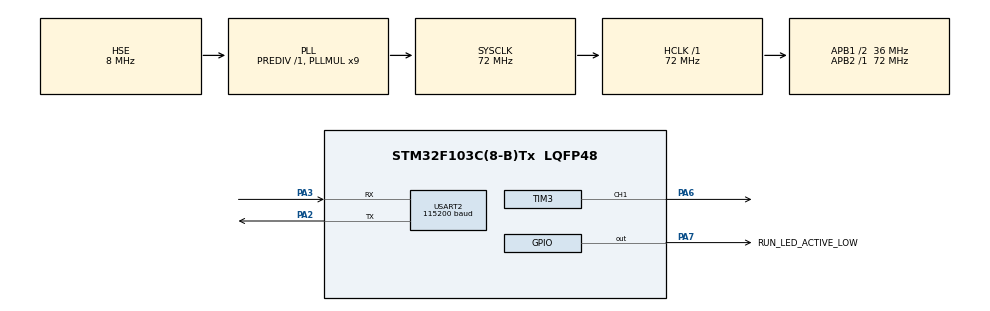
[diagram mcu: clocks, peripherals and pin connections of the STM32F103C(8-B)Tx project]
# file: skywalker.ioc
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Mcu.Family=STM32F1
Mcu.Name=STM32F103C(8-B)Tx
Mcu.Package=LQFP48
NVIC.PriorityGroup=NVIC_PRIORITYGROUP_4
PA13.Mode=Serial_Wire
PA13.Signal=SYS_JTMS-SWDIO
PA14.Mode=Serial_Wire
PA14.Signal=SYS_JTCK-SWCLK
PA6.Signal=S_TIM3_CH1
PA2.Mode=Asynchronous
PA2.Signal=USART2_TX
PA3.Mode=Asynchronous
PA3.Signal=USART2_RX
PA7.GPIO_Label=RUN_LED_ACTIVE_LOW
PA7.Signal=GPIO_Output
PD0-OSC_IN.Mode=HSE-External-Oscillator
PD0-OSC_IN.Signal=RCC_OSC_IN
PD1-OSC_OUT.Mode=HSE-External-Oscillator
PD1-OSC_OUT.Signal=RCC_OSC_OUT
ProjectManager.HeapSize=0x200
ProjectManager.StackSize=0x400
ProjectManager.TargetToolchain=CMake
RCC.AHBFreq_Value=72000000
RCC.APB1CLKDivider=RCC_HCLK_DIV2
RCC.APB1Freq_Value=36000000
RCC.APB1TimFreq_Value=72000000
RCC.APB2Freq_Value=72000000
RCC.APB2TimFreq_Value=72000000
RCC.HCLKFreq_Value=72000000
RCC.PLLMUL=RCC_PLL_MUL9
RCC.PLLSourceVirtual=RCC_PLLSOURCE_HSE
RCC.SYSCLKFreq_VALUE=72000000
RCC.SYSCLKSource=RCC_SYSCLKSOURCE_PLLCLK
RCC.USBFreq_Value=72000000
SH.S_TIM3_CH1.0=TIM3_CH1,PWM Generation1 CH1
TIM3.Channel-PWM\ Generation1\ CH1=TIM_CHANNEL_1
TIM3.Period=20000-1
TIM3.Prescaler=72-1
USART2.BaudRate=115200
USART2.VirtualMode=VM_ASYNC
VP_TIM3_VS_ClockSourceINT.Mode=Internal
board=custom

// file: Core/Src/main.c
/* USER CODE BEGIN Header */
/**
  ******************************************************************************
  * @file           : main.c
  * @brief          : Main program body
  ******************************************************************************
  * @attention
  *
  * Copyright (c) 2026 STMicroelectronics.
  * All rights reserved.
  *
  * This software is licensed under terms that can be found in the LICENSE file
  * in the root directory of this software component.
  * If no LICENSE file comes with this software, it is provided AS-IS.
  *
  ******************************************************************************
  */
/* USER CODE END Header */
#include "main.h"
#include "tim.h"
#include "gpio.h"

/* USER CODE BEGIN Includes */
#include <string.h>
/* USER CODE END Includes */

/* USER CODE BEGIN PTD */
typedef enum
{
  APP_STARTUP_STOP = 0,
  APP_AUTO_RUN,
  APP_TEST_COMPLETE
} AppState;

typedef struct
{
  uint32_t uptime_ms;
  uint16_t motor_command;   /* 当前输出的油门脉宽 μs */
  AppState state;
} AppLiveValues;
/* USER CODE END PTD */

/* USER CODE BEGIN PD */
/* Skywalker V2 航模电调油门脉宽，单位 μs（出厂默认行程 1100~1940）
 * TIM3 计数频率 1 MHz（PSC=71、ARR=19999 → 20 ms / 50 Hz），CCR 数值 = 脉宽 μs */
#define ESC_PULSE_MIN         1100u  /* 最低油门：停止 */
#define ESC_PULSE_TEST        1200u  /* 测试油门：低速旋转；若不转可逐步试 1220/1240/1260 */

/* 无按键的一次性安全测试：上电先等待自检，然后低速运行 2 秒并永久停止。
 * 复位 MCU 可重新执行一次；不会循环自动启动电机。 */
#define STARTUP_STOP_MS       8000U  /* 持续最低油门，留出电调接电与自检时间 */
#define AUTO_TEST_RUN_MS      2000U  /* 只自动低速运行一次 */
#define LOOP_PERIOD_MS           1U  /* 主循环节拍 */

#define LED_PIN  GPIO_PIN_7    /* PA7：低电平点亮（运行时亮） */
/* USER CODE END PD */

/* USER CODE BEGIN PV */
UART_HandleTypeDef huart2;

/* 调试时可在 CubeIDE Live Expressions 中观察 app_live */
volatile AppLiveValues app_live = {0};
/* USER CODE END PV */

void SystemClock_Config(void);
/* USER CODE BEGIN PFP */
static void MX_USART2_UART_Init(void);
static void App_UartWrite(const char *text);
static void App_ReportState(AppState state);
/* USER CODE END PFP */

int main(void)
{

  /* USER CODE BEGIN 1 */

  uint32_t startup_ms;
  /* USER CODE END 1 */

  /* MCU Configuration--------------------------------------------------------*/

  /* Reset of all peripherals, Initializes the Flash interface and the Systick. */
  HAL_Init();

  /* Configure the system clock */
  SystemClock_Config();

  /* Initialize all configured peripherals */
  MX_GPIO_Init();
  MX_TIM3_Init();
  /* USER CODE BEGIN 2 */

  MX_USART2_UART_Init();

  App_UartWrite(
      "\r\nSTM32F103 + Skywalker V2 no-button test v2.0\r\n"
      "PA6->ESC white(signal), STM32 GND->ESC black\r\n"
      "1100us for 8s, 1200us for 2s, then 1100us permanently\r\n");

  /* 先设最低油门，再启动 PWM：PA6 上电即稳定输出 1100 μs，
   * 电调上电自检要求“油门归零”才能启动 */
  __HAL_TIM_SET_COMPARE(&htim3, TIM_CHANNEL_1, ESC_PULSE_MIN);
  if (HAL_TIM_PWM_Start(&htim3, TIM_CHANNEL_1) != HAL_OK)
  {
    Error_Handler();
  }

  startup_ms = HAL_GetTick();
  App_ReportState(APP_STARTUP_STOP);

  /* USER CODE END 2 */

  /* Infinite loop */
  while (1)
  {

    /* USER CODE BEGIN 3 */

    uint32_t now = HAL_GetTick();
    uint32_t elapsed_ms = (uint32_t)(now - startup_ms);
    uint16_t motor = ESC_PULSE_MIN;
    AppState state;

    if (elapsed_ms < STARTUP_STOP_MS)
    {
      /* 上电先稳定发送最低油门，给电调充分时间接电和完成自检。 */
      state = APP_STARTUP_STOP;
    }
    else if (elapsed_ms < (STARTUP_STOP_MS + AUTO_TEST_RUN_MS))
    {
      motor = ESC_PULSE_TEST;
      state = APP_AUTO_RUN;
    }
    else
    {
      /* 一次测试结束后永久保持最低油门，直到 MCU 被复位。 */
      state = APP_TEST_COMPLETE;
    }

    /* 输出油门 */
    __HAL_TIM_SET_COMPARE(&htim3, TIM_CHANNEL_1, motor);

    /* 先输出停止/新指令，再打印状态 */
    App_ReportState(state);

    /* 绿色 LED：仅在输出非最低油门时点亮 */
    HAL_GPIO_WritePin(GPIOA, LED_PIN,
                      (motor != ESC_PULSE_MIN) ? GPIO_PIN_RESET : GPIO_PIN_SET);

    app_live.uptime_ms = now;
    app_live.motor_command = motor;
    app_live.state = state;

    HAL_Delay(LOOP_PERIOD_MS);
  }
  /* USER CODE END 3 */
}

void SystemClock_Config(void)
{
  RCC_OscInitTypeDef RCC_OscInitStruct = {0};
  RCC_ClkInitTypeDef RCC_ClkInitStruct = {0};

  /** Initializes the RCC Oscillators according to the specified parameters
  * in the RCC_OscInitTypeDef structure.
  */
  RCC_OscInitStruct.OscillatorType = RCC_OSCILLATORTYPE_HSE;
  RCC_OscInitStruct.HSEState = RCC_HSE_ON;
  RCC_OscInitStruct.HSEPredivValue = RCC_HSE_PREDIV_DIV1;
  RCC_OscInitStruct.HSIState = RCC_HSI_ON;
  RCC_OscInitStruct.PLL.PLLState = RCC_PLL_ON;
  RCC_OscInitStruct.PLL.PLLSource = RCC_PLLSOURCE_HSE;
  RCC_OscInitStruct.PLL.PLLMUL = RCC_PLL_MUL9;
  if (HAL_RCC_OscConfig(&RCC_OscInitStruct) != HAL_OK)
  {
    Error_Handler();
  }

  /** Initializes the CPU, AHB and APB buses clocks
  */
  RCC_ClkInitStruct.ClockType = RCC_CLOCKTYPE_HCLK|RCC_CLOCKTYPE_SYSCLK
                              |RCC_CLOCKTYPE_PCLK1|RCC_CLOCKTYPE_PCLK2;
  RCC_ClkInitStruct.SYSCLKSource = RCC_SYSCLKSOURCE_PLLCLK;
  RCC_ClkInitStruct.AHBCLKDivider = RCC_SYSCLK_DIV1;
  RCC_ClkInitStruct.APB1CLKDivider = RCC_HCLK_DIV2;
  RCC_ClkInitStruct.APB2CLKDivider = RCC_HCLK_DIV1;

  if (HAL_RCC_ClockConfig(&RCC_ClkInitStruct, FLASH_LATENCY_2) != HAL_OK)
  {
    Error_Handler();
  }
}

/* USER CODE BEGIN 4 */

/**
  * @brief USART2（PA2=TX, PA3=RX）115200 8-N-1，仅轮询发送，用于状态输出
  */
static void MX_USART2_UART_Init(void)
{
  huart2.Instance = USART2;
  huart2.Init.BaudRate = 115200;
  huart2.Init.WordLength = UART_WORDLENGTH_8B;
  huart2.Init.StopBits = UART_STOPBITS_1;
  huart2.Init.Parity = UART_PARITY_NONE;
  huart2.Init.Mode = UART_MODE_TX_RX;
  huart2.Init.HwFlowCtl = UART_HWCONTROL_NONE;
  huart2.Init.OverSampling = UART_OVERSAMPLING_16;
  if (HAL_UART_Init(&huart2) != HAL_OK)
  {
    Error_Handler();
  }
}

static void App_UartWrite(const char *text)
{
  size_t length = strlen(text);

  if (length != 0U)
  {
    (void)HAL_UART_Transmit(&huart2, (uint8_t *)text, (uint16_t)length, 200U);
  }
}

static void App_ReportState(AppState state)
{
  static AppState last_state = (AppState)0xFF;
  const char *message = NULL;

  if (state == last_state)
  {
    return;
  }
  last_state = state;

  switch (state)
  {
    case APP_STARTUP_STOP:
      message = "STATE,STARTUP_STOP,1100us; power ESC now\r\n";
      break;
    case APP_AUTO_RUN:
      message = "STATE,AUTO_RUN,1200us for 2s\r\n";
      break;
    case APP_TEST_COMPLETE:
      message = "STATE,TEST_COMPLETE,1100us until reset\r\n";
      break;
    default:
      message = "STATE,UNKNOWN\r\n";
      break;
  }

  App_UartWrite(message);
}

/* USER CODE END 4 */

void Error_Handler(void)
{
  /* USER CODE BEGIN Error_Handler_Debug */
  /* 出错时先关闭 TIM3 输出，再把 PA6 配成普通低电平输出。
   * 仅写 GPIOA->BRR 不能可靠覆盖仍由定时器控制的复用功能引脚。 */
  GPIO_InitTypeDef GPIO_InitStruct = {0};

  __HAL_RCC_TIM3_CLK_ENABLE();
  __HAL_RCC_GPIOA_CLK_ENABLE();
  TIM3->CCER &= ~TIM_CCER_CC1E;
  TIM3->CR1 &= ~TIM_CR1_CEN;
  HAL_GPIO_WritePin(GPIOA, GPIO_PIN_6, GPIO_PIN_RESET);
  GPIO_InitStruct.Pin = GPIO_PIN_6;
  GPIO_InitStruct.Mode = GPIO_MODE_OUTPUT_PP;
  GPIO_InitStruct.Speed = GPIO_SPEED_FREQ_LOW;
  HAL_GPIO_Init(GPIOA, &GPIO_InitStruct);
  __disable_irq();
  while (1)
  {
  }
  /* USER CODE END Error_Handler_Debug */
}
